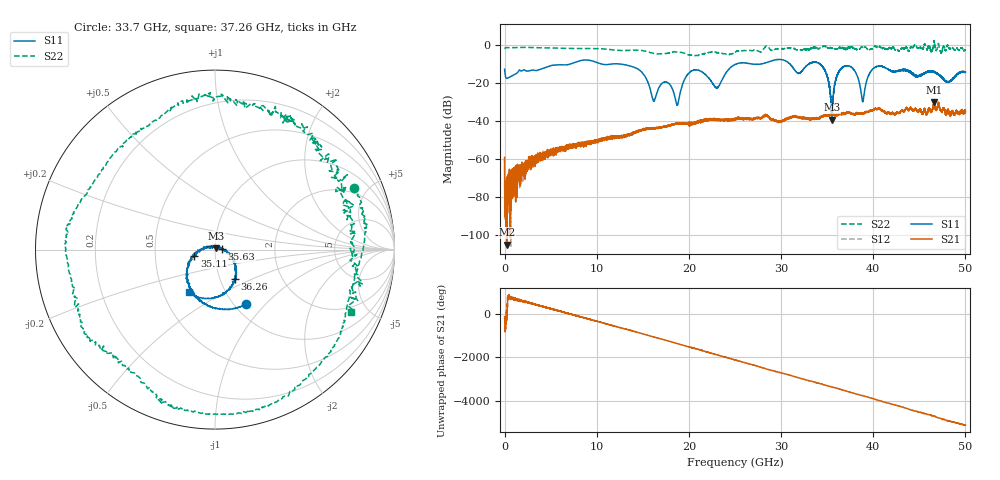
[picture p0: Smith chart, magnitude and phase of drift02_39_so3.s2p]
!Created with skrf (http://scikit-rf.org).
# Hz S RI R 50.0
!freq ReS11 ImS11 ReS21 ImS21 ReS12 ImS12 ReS22 ImS22
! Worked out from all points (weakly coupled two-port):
!   10001 points, 300 kHz to 50 GHz, reference 50 ohm
!   highest |S21| = -30.17 dB at 46.61 GHz (marker M1); lowest = -105.1 dB at 250.3 MHz (marker M2)
!   lowest |S11| = -39.4 dB at 35.54 GHz (marker M3), VSWR 1.02, Z = 50.7 + j0.78 ohm
!   |S11| at or under -10 dB: start of sweep to 7.179 GHz; 12.34 GHz to 25.16 GHz (12.82 GHz wide, 68.4 % of centre); 34.22 GHz to end of sweep (the widest 3 of 20)
!   |S22| runs from -5.7 to 2.3 dB; largest |S21 - S12| = 0.0038
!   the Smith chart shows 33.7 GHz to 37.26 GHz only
!   S11 on the Smith chart (normalised r, x): 33.7 GHz: 1.14, -0.79; 35.11 GHz: 0.79, -0.05; 35.63 GHz: 1.08, +0.01; 36.26 GHz: 1.18, -0.40; 37.26 GHz: 0.67, -0.35
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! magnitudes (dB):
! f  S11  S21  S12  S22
! 300 kHz  -12.9  -59.2  -59.4  -2.1
! 250.3 MHz  -17.6  -105.1  -78.2  -1.4
! 2.57 GHz  -13.8  -62.8  -61.2  -1.3
! 8.335 GHz  -8.2  -52.5  -52.5  -1.9
! 14.03 GHz  -11.7  -46.4  -46.3  -2.8
! 16.67 GHz  -23.3  -43.7  -43.7  -4.7
! 18.74 GHz  -31.7  -41.6  -41.5  -3.7
! 20.24 GHz  -13.9  -40.9  -41.2  -5.4
! 23.04 GHz  -22.6  -39.6  -39.6  -4.1
! 25 GHz  -10.3  -39.1  -39.3  -3.9
! 33.34 GHz  -9.3  -38.7  -39.0  -1.5
! 33.7 GHz  -9.1  -38.5  -38.7  -1.4
! 35.11 GHz  -18.4  -37.1  -37.4  -1.7
! 35.54 GHz  -39.4  -36.6  -36.8  -1.7
! 35.63 GHz  -28.3  -36.9  -36.6  -1.6
! 36.26 GHz  -14.0  -36.6  -36.3  -1.6
! 37.26 GHz  -11.1  -35.6  -35.9  -1.6
! 38.86 GHz  -29.9  -35.8  -36.0  -1.4
! 39.95 GHz  -12.7  -34.4  -34.4  -2.0
! 41.67 GHz  -13.0  -35.3  -35.7  -1.8
! 46.61 GHz  -14.2  -30.2  -30.1  2.3
! 50 GHz  -14.4  -35.1  -34.8  -2.6
